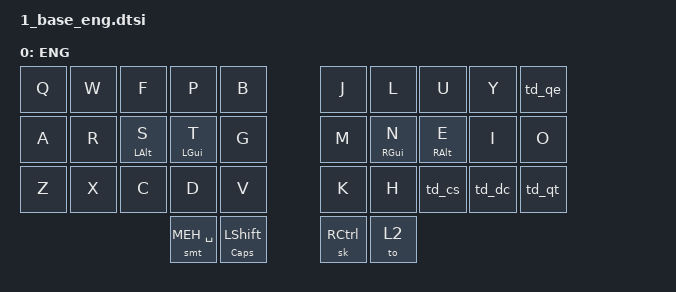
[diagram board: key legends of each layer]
/*
 * English Base Layer - Colemak-DH
*/

/ {
  keymap {
    compatible = "zmk,keymap";

    base_eng {
      label = "ENG";
      bindings = <
// ╭───────────────┬───────────────┬───────────────┬───────────────┬───────────────╮   ╭───────────────┬───────────────┬───────────────┬───────────────┬───────────────╮
//  0               1               2               3               4                   5               6               7               8               9
    &kp Q           &kp W           &kp F           &kp P           &kp B               &kp J           &kp L           &kp U           &kp Y           &td_qe
// ├───────────────├───────────────┼───────────────┼───────────────┼───────────────┤   ├───────────────├───────────────┼───────────────┼───────────────┼───────────────┤
//  10              11              12              13              14                  15              16              17              18              19
    &kp A           &kp R           &hm LALT S      &hm LGUI T      &kp G               &kp M           &hm RGUI N      &hm RALT E      &kp I           &kp O
// ├───────────────├───────────────┼───────────────┼───────────────┼───────────────┤   ├───────────────├───────────────┼───────────────┼───────────────┼───────────────┤
//  20              21              22              23              24                  25              26              27              28              29
    &kp Z           &kp X           &kp C           &kp D           &kp V               &kp K           &kp H           &td_cs          &td_dc          &td_qt
// ╰───────────────┴───────────────┼───────────────┴───────┬───────┴───────────────┤   ┼───────────────┴───────┬───────┴───────────────┤───────────────┴───────────────╯
//                                  30                      31                          32                      33              
                                    &smt MEH SPACE          &mt CAPS LSHIFT             &sk RCTRL               &to 2
//                                 ╰───────────────────────┴───────────────────────╯   ╰───────────────────────┴───────────────────────╯
      >;
    };
  };
};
